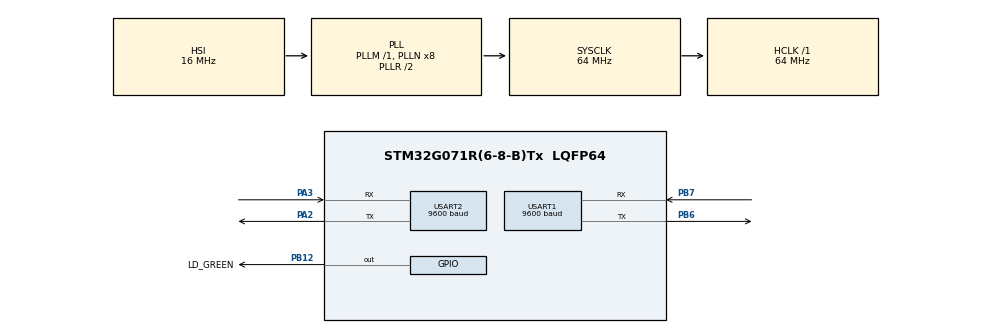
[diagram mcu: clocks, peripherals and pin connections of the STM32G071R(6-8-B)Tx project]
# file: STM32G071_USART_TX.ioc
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Dma.Request0=USART1_TX
Dma.Request1=USART2_TX
Dma.USART1_TX.0.Direction=DMA_MEMORY_TO_PERIPH
Dma.USART1_TX.0.EventEnable=DISABLE
Dma.USART1_TX.0.Instance=DMA1_Channel1
Dma.USART1_TX.0.MemDataAlignment=DMA_MDATAALIGN_BYTE
Dma.USART1_TX.0.MemInc=DMA_MINC_ENABLE
Dma.USART1_TX.0.Mode=DMA_NORMAL
Dma.USART1_TX.0.PeriphDataAlignment=DMA_PDATAALIGN_BYTE
Dma.USART1_TX.0.PeriphInc=DMA_PINC_DISABLE
Dma.USART1_TX.0.Polarity=HAL_DMAMUX_REQ_GEN_RISING
Dma.USART1_TX.0.Priority=DMA_PRIORITY_LOW
Dma.USART1_TX.0.RequestNumber=1
Dma.USART1_TX.0.SignalID=NONE
Dma.USART1_TX.0.SyncEnable=DISABLE
Dma.USART1_TX.0.SyncPolarity=HAL_DMAMUX_SYNC_NO_EVENT
Dma.USART1_TX.0.SyncRequestNumber=1
Dma.USART1_TX.0.SyncSignalID=NONE
Dma.USART2_TX.1.Direction=DMA_MEMORY_TO_PERIPH
Dma.USART2_TX.1.EventEnable=DISABLE
Dma.USART2_TX.1.Instance=DMA1_Channel2
Dma.USART2_TX.1.MemDataAlignment=DMA_MDATAALIGN_BYTE
Dma.USART2_TX.1.MemInc=DMA_MINC_ENABLE
Dma.USART2_TX.1.Mode=DMA_NORMAL
Dma.USART2_TX.1.PeriphDataAlignment=DMA_PDATAALIGN_BYTE
Dma.USART2_TX.1.PeriphInc=DMA_PINC_DISABLE
Dma.USART2_TX.1.Polarity=HAL_DMAMUX_REQ_GEN_RISING
Dma.USART2_TX.1.Priority=DMA_PRIORITY_LOW
Dma.USART2_TX.1.RequestNumber=1
Dma.USART2_TX.1.SignalID=NONE
Dma.USART2_TX.1.SyncEnable=DISABLE
Dma.USART2_TX.1.SyncPolarity=HAL_DMAMUX_SYNC_NO_EVENT
Dma.USART2_TX.1.SyncRequestNumber=1
Dma.USART2_TX.1.SyncSignalID=NONE
Mcu.Family=STM32G0
Mcu.Name=STM32G071R(6-8-B)Tx
Mcu.Package=LQFP64
NVIC.DMA1_Channel1_IRQn=true\:0\:0\:false\:false\:true\:false\:true\:true
NVIC.DMA1_Channel2_3_IRQn=true\:0\:0\:false\:false\:true\:false\:true\:true
NVIC.USART1_IRQn=true\:0\:0\:false\:false\:true\:true\:true\:true
NVIC.USART2_IRQn=true\:0\:0\:false\:false\:true\:true\:true\:true
PA13.Mode=Serial_Wire
PA13.Signal=SYS_SWDIO
PA14-BOOT0.Mode=Serial_Wire
PA14-BOOT0.Signal=SYS_SWCLK
PA2.Mode=Asynchronous
PA2.Signal=USART2_TX
PA3.Mode=Asynchronous
PA3.Signal=USART2_RX
PB12.GPIO_Label=LD_GREEN
PB12.Signal=GPIO_Output
PB6.Mode=Asynchronous
PB6.Signal=USART1_TX
PB7.Mode=Asynchronous
PB7.Signal=USART1_RX
ProjectManager.HeapSize=0x200
ProjectManager.StackSize=0x400
ProjectManager.TargetToolchain=STM32CubeIDE
RCC.ADCFreq_Value=64000000
RCC.AHBFreq_Value=64000000
RCC.CortexFreq_Value=64000000
RCC.EXTERNAL_CLOCK_VALUE=48000
RCC.HCLKFreq_Value=64000000
RCC.HSE_VALUE=8000000
RCC.HSI_VALUE=16000000
RCC.LSE_VALUE=32768
RCC.SYSCLKFreq_VALUE=64000000
RCC.SYSCLKSource=RCC_SYSCLKSOURCE_PLLCLK
RCC.VCOOutputFreq_Value=128000000
USART1.BaudRate=9600
USART1.VirtualMode-Asynchronous=VM_ASYNC
USART2.BaudRate=9600
USART2.VirtualMode-Asynchronous=VM_ASYNC
board=custom

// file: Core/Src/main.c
/* USER CODE BEGIN Header */
/**
  ******************************************************************************
  * @file           : main.c
  * @brief          : Main program body
  ******************************************************************************
  * @attention
  *
  * Copyright (c) 2024 STMicroelectronics.
  * All rights reserved.
  *
  * This software is licensed under terms that can be found in the LICENSE file
  * in the root directory of this software component.
  * If no LICENSE file comes with this software, it is provided AS-IS.
  *
  ******************************************************************************
  */
/* USER CODE END Header */
#include "main.h"

/* USER CODE BEGIN Includes */
#include <stdbool.h>

/* USER CODE END Includes */

UART_HandleTypeDef huart1;
UART_HandleTypeDef huart2;
DMA_HandleTypeDef hdma_usart1_tx;
DMA_HandleTypeDef hdma_usart2_tx;

/* USER CODE BEGIN PV */
extern uint16_t counterLedGreen;

/* USER CODE END PV */

void SystemClock_Config(void);
static void MX_GPIO_Init(void);
static void MX_DMA_Init(void);
static void MX_USART1_UART_Init(void);
static void MX_USART2_UART_Init(void);

/* USER CODE BEGIN 0 */
uint8_t data[2000];// = "Roniere\r\n";
uint8_t data_1[2000];
uint8_t countUsart = 0;
uint8_t toggle = 0;

void HAL_UART_TxHalfCpltCallback(UART_HandleTypeDef *huart)
{
	toggle = ~toggle;

	if(toggle)
	{
		for(int i = 0; i < 1000; i++)
		{
			data[i] = 'a';
		}
	}
	else
	{
		for(int i = 0; i < 1000; i++)
		{
			data[i] = 'b';
		}
	}
}

void HAL_UART_TxCpltCallback(UART_HandleTypeDef *huart)
{
	//HAL_UART_Transmit_IT(&huart1, data, sizeof(data));
/*	for(int i = 1000; i < 2000; i++)
	{
		data[i] = 'y';
	}
*/
	if(toggle)
	{
		for(int i = 1000; i < 2000; i++)
		{
			data[i] = 'a';
		}
	}
	else
	{
		for(int i = 1000; i < 2000; i++)
		{
			data[i] = 'b';
		}
	}
}

/* USER CODE END 0 */

int main(void)
{

  /* MCU Configuration--------------------------------------------------------*/

  /* Reset of all peripherals, Initializes the Flash interface and the Systick. */
  HAL_Init();

  /* Configure the system clock */
  SystemClock_Config();

  /* Initialize all configured peripherals */
  MX_GPIO_Init();
  MX_DMA_Init();
  MX_USART1_UART_Init();
  MX_USART2_UART_Init();
  /* USER CODE BEGIN 2 */

  for(uint16_t i = 0; i < 2000; i++)
  {
	  data_1[i] = 'x';
  }

  //HAL_UART_Transmit_IT(&huart1, data, sizeof(data));
  HAL_UART_Transmit_DMA(&huart1, data, sizeof(data));
  /* USER CODE END 2 */

  /* Infinite loop */
  /* USER CODE BEGIN WHILE */
  while (true)
  {
    /* USER CODE END WHILE */

    /* USER CODE BEGIN 3 */

	  if(counterLedGreen >= 250)
	  {
		  HAL_GPIO_TogglePin(LD_GREEN_GPIO_Port, LD_GREEN_Pin);

		  //HAL_UART_Transmit(&huart1, data_1, sizeof(data_1), HAL_MAX_DELAY);

		  counterLedGreen = 0;

		  countUsart++;
	  }

	  if((countUsart % 20) == 0)
	  {
		  //HAL_UART_Transmit_IT(&huart1, data, sizeof(data));
		  HAL_UART_Transmit_DMA(&huart1, data, sizeof(data));
	  }

  }
  /* USER CODE END 3 */
}

void SystemClock_Config(void)
{
  RCC_OscInitTypeDef RCC_OscInitStruct = {0};
  RCC_ClkInitTypeDef RCC_ClkInitStruct = {0};

  /** Configure the main internal regulator output voltage
  */
  HAL_PWREx_ControlVoltageScaling(PWR_REGULATOR_VOLTAGE_SCALE1);

  /** Initializes the RCC Oscillators according to the specified parameters
  * in the RCC_OscInitTypeDef structure.
  */
  RCC_OscInitStruct.OscillatorType = RCC_OSCILLATORTYPE_HSI;
  RCC_OscInitStruct.HSIState = RCC_HSI_ON;
  RCC_OscInitStruct.HSIDiv = RCC_HSI_DIV1;
  RCC_OscInitStruct.HSICalibrationValue = RCC_HSICALIBRATION_DEFAULT;
  RCC_OscInitStruct.PLL.PLLState = RCC_PLL_ON;
  RCC_OscInitStruct.PLL.PLLSource = RCC_PLLSOURCE_HSI;
  RCC_OscInitStruct.PLL.PLLM = RCC_PLLM_DIV1;
  RCC_OscInitStruct.PLL.PLLN = 8;
  RCC_OscInitStruct.PLL.PLLP = RCC_PLLP_DIV2;
  RCC_OscInitStruct.PLL.PLLQ = RCC_PLLQ_DIV2;
  RCC_OscInitStruct.PLL.PLLR = RCC_PLLR_DIV2;
  if (HAL_RCC_OscConfig(&RCC_OscInitStruct) != HAL_OK)
  {
    Error_Handler();
  }

  /** Initializes the CPU, AHB and APB buses clocks
  */
  RCC_ClkInitStruct.ClockType = RCC_CLOCKTYPE_HCLK|RCC_CLOCKTYPE_SYSCLK
                              |RCC_CLOCKTYPE_PCLK1;
  RCC_ClkInitStruct.SYSCLKSource = RCC_SYSCLKSOURCE_PLLCLK;
  RCC_ClkInitStruct.AHBCLKDivider = RCC_SYSCLK_DIV1;
  RCC_ClkInitStruct.APB1CLKDivider = RCC_HCLK_DIV1;

  if (HAL_RCC_ClockConfig(&RCC_ClkInitStruct, FLASH_LATENCY_2) != HAL_OK)
  {
    Error_Handler();
  }
}

static void MX_USART1_UART_Init(void)
{

  huart1.Instance = USART1;
  huart1.Init.BaudRate = 9600;
  huart1.Init.WordLength = UART_WORDLENGTH_8B;
  huart1.Init.StopBits = UART_STOPBITS_1;
  huart1.Init.Parity = UART_PARITY_NONE;
  huart1.Init.Mode = UART_MODE_TX_RX;
  huart1.Init.HwFlowCtl = UART_HWCONTROL_NONE;
  huart1.Init.OverSampling = UART_OVERSAMPLING_16;
  huart1.Init.OneBitSampling = UART_ONE_BIT_SAMPLE_DISABLE;
  huart1.Init.ClockPrescaler = UART_PRESCALER_DIV1;
  huart1.AdvancedInit.AdvFeatureInit = UART_ADVFEATURE_NO_INIT;
  if (HAL_UART_Init(&huart1) != HAL_OK)
  {
    Error_Handler();
  }
  if (HAL_UARTEx_SetTxFifoThreshold(&huart1, UART_TXFIFO_THRESHOLD_1_8) != HAL_OK)
  {
    Error_Handler();
  }
  if (HAL_UARTEx_SetRxFifoThreshold(&huart1, UART_RXFIFO_THRESHOLD_1_8) != HAL_OK)
  {
    Error_Handler();
  }
  if (HAL_UARTEx_DisableFifoMode(&huart1) != HAL_OK)
  {
    Error_Handler();
  }

}

static void MX_USART2_UART_Init(void)
{

  huart2.Instance = USART2;
  huart2.Init.BaudRate = 9600;
  huart2.Init.WordLength = UART_WORDLENGTH_8B;
  huart2.Init.StopBits = UART_STOPBITS_1;
  huart2.Init.Parity = UART_PARITY_NONE;
  huart2.Init.Mode = UART_MODE_TX_RX;
  huart2.Init.HwFlowCtl = UART_HWCONTROL_NONE;
  huart2.Init.OverSampling = UART_OVERSAMPLING_16;
  huart2.Init.OneBitSampling = UART_ONE_BIT_SAMPLE_DISABLE;
  huart2.Init.ClockPrescaler = UART_PRESCALER_DIV1;
  huart2.AdvancedInit.AdvFeatureInit = UART_ADVFEATURE_NO_INIT;
  if (HAL_UART_Init(&huart2) != HAL_OK)
  {
    Error_Handler();
  }
  if (HAL_UARTEx_SetTxFifoThreshold(&huart2, UART_TXFIFO_THRESHOLD_1_8) != HAL_OK)
  {
    Error_Handler();
  }
  if (HAL_UARTEx_SetRxFifoThreshold(&huart2, UART_RXFIFO_THRESHOLD_1_8) != HAL_OK)
  {
    Error_Handler();
  }
  if (HAL_UARTEx_DisableFifoMode(&huart2) != HAL_OK)
  {
    Error_Handler();
  }

}

static void MX_DMA_Init(void)
{

  /* DMA controller clock enable */
  __HAL_RCC_DMA1_CLK_ENABLE();

  /* DMA interrupt init */
  /* DMA1_Channel1_IRQn interrupt configuration */
  HAL_NVIC_SetPriority(DMA1_Channel1_IRQn, 0, 0);
  HAL_NVIC_EnableIRQ(DMA1_Channel1_IRQn);
  /* DMA1_Channel2_3_IRQn interrupt configuration */
  HAL_NVIC_SetPriority(DMA1_Channel2_3_IRQn, 0, 0);
  HAL_NVIC_EnableIRQ(DMA1_Channel2_3_IRQn);

}

static void MX_GPIO_Init(void)
{
  GPIO_InitTypeDef GPIO_InitStruct = {0};

  /* GPIO Ports Clock Enable */
  __HAL_RCC_GPIOA_CLK_ENABLE();
  __HAL_RCC_GPIOB_CLK_ENABLE();

  /*Configure GPIO pin Output Level */
  HAL_GPIO_WritePin(LD_GREEN_GPIO_Port, LD_GREEN_Pin, GPIO_PIN_RESET);

  /*Configure GPIO pin : LD_GREEN_Pin */
  GPIO_InitStruct.Pin = LD_GREEN_Pin;
  GPIO_InitStruct.Mode = GPIO_MODE_OUTPUT_PP;
  GPIO_InitStruct.Pull = GPIO_NOPULL;
  GPIO_InitStruct.Speed = GPIO_SPEED_FREQ_LOW;
  HAL_GPIO_Init(LD_GREEN_GPIO_Port, &GPIO_InitStruct);

}

void Error_Handler(void)
{
  __disable_irq();
  while (1)
  {
  }
}
